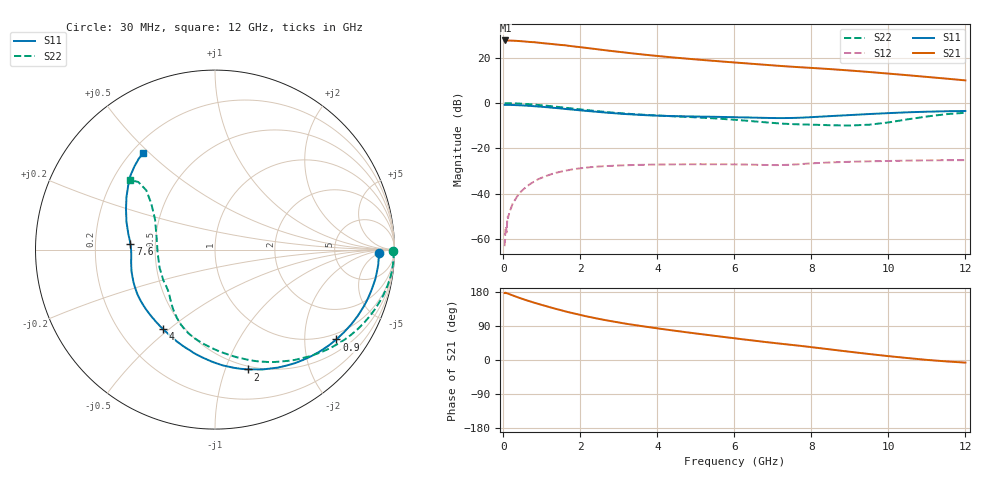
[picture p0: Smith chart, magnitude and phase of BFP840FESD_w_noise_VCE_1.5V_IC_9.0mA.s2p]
! Infineon Technologies  Discrete & RF Semiconductors
! BFP840FESD
! VCE =  1.5 V,  IC =  9.0 mA
! Common Emitter S-Parameters:  May 2012
# GHz  S  MA  R  50
!  f  S11  S21  S12  S22
! GHz  MAG  ANG  MAG  ANG  MAG  ANG  MAG  ANG
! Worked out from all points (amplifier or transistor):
!   103 points, 30 MHz to 12 GHz, reference 50 ohm
!   highest |S21| = 27.6 dB at 50 MHz (marker M1)
!   |S21| within 3 dB of that: start of sweep to 2.018 GHz
!   unconditionally stable (mu >= 1): 6.544 GHz to end of sweep
!   at 400 MHz: K = 0.06, MSG = 33.8 dB, |S12| = -40.2 dB
!   at 3.7 GHz: K = 0.50, MSG = 24.2 dB, |S12| = -27.2 dB
!   at 12 GHz: K = 1.18, MAG = 15.0 dB, |S12| = -25.2 dB
!   lowest NFmin = 0.64 dB at 450 MHz
!   S11 on the Smith chart (normalised r, x): 30 MHz: 21, -5; 900 MHz: 0.82, -2.82; 2 GHz: 0.47, -1.20; 4 GHz: 0.39, -0.48; 7.6 GHz: 0.36, +0.03; 12 GHz: 0.24, +0.48
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0.03  0.9144 -1.2  23.94 176.7  0.0007 93.4  0.9894 -0.5
0.04  0.9147 -1.6  23.96 176.4  0.001 73.8  0.992 -0.8
0.05  0.9145 -2.1  24.05 177.6  0.0016 122.1  0.9942 -1.1
0.25  0.9078 -10.6  23.77 170.1  0.0065 82.1  0.9902 -8.4
0.45  0.8921 -18.8  23.17 162.7  0.0111 78.0  0.9719 -15.0
0.6  0.8772 -24.8  22.62 157.5  0.0144 73.9  0.9538 -19.8
0.9  0.8415 -36.5  21.54 148.2  0.0209 66.8  0.9104 -29.1
1.2  0.8015 -47.6  20.29 139.4  0.0263 60.0  0.8607 -37.8
1.6  0.7448 -62.0  18.83 128.5  0.0323 51.7  0.7912 -48.9
2  0.692 -74.7  17.09 118.9  0.0365 44.5  0.7254 -59.2
2.1  0.6795 -77.8  16.7 116.5  0.0374 43.1  0.7108 -61.7
2.5  0.6345 -89.0  15.15 108.1  0.0401 37.3  0.6572 -70.6
2.9  0.5962 -99.1  13.79 100.7  0.0418 32.7  0.6127 -78.4
3.3  0.5654 -108.5  12.62 93.9  0.0429 29.2  0.577 -85.4
4  0.5288 -123.2  10.94 83.5  0.0441 24.8  0.533 -95.8
4.1  0.5259 -125.3  10.74 82.1  0.0442 24.4  0.5277 -97.3
5  0.5057 -142.1  9.181 70.0  0.0448 20.8  0.4844 -108.6
6.1  0.486 -160.2  7.755 56.1  0.0444 18.1  0.4225 -121.7
7.6  0.4729 176.0  6.255 38.6  0.0445 23.2  0.3415 -141.9
8.5  0.5169 162.6  5.608 27.8  0.0492 23.1  0.3248 -162.0
10.5  0.6266 138.7  4.117 5.1  0.0539 20.1  0.4385 144.1
12  0.67 126.7  3.17 -6.9  0.0552 20.2  0.6125 140.7
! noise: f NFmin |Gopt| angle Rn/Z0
0.45  0.64  0.36  5  0.14
0.9  0.66  0.34  12  0.15
1.5  0.68  0.31  17  0.14
1.9  0.68  0.28  27  0.15
2.4  0.7  0.26  35  0.15
3.5  0.71  0.25  56  0.14
5.5  0.77  0.17  99  0.12
8  0.89  0.15  161  0.12
10  1.03  0.24  -139  0.12
12  1.25  0.4  -117  0.14
